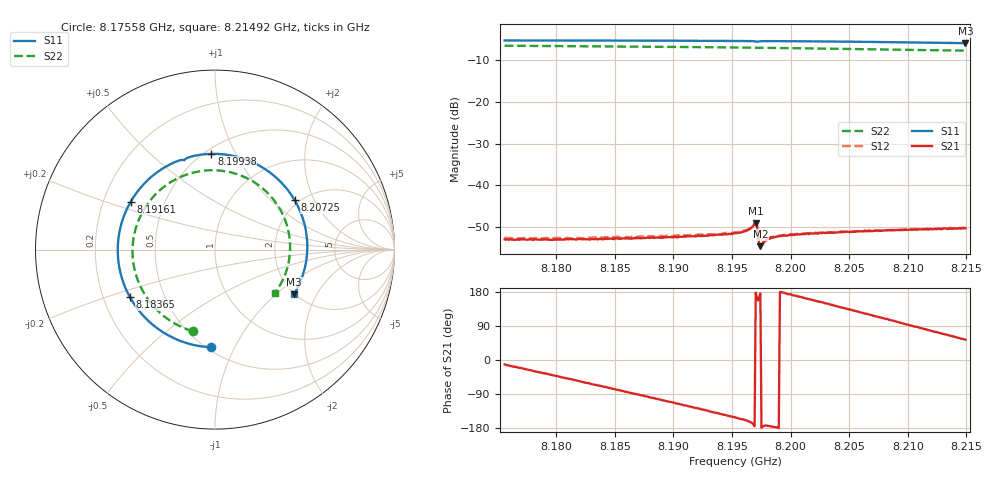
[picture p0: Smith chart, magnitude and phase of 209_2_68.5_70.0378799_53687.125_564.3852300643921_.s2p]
#  HZ  S  RI  R  50.00
! Rohde & Schwarz Vector Network Analyzer
! Rohde-Schwarz,ZNB20-2Port,1311601062101988,3.16
! Created: UTC 3/20/2024, 4:57:57 PM
! freq[Hz]  re:S11  im:S11  re:S21  im:S21  re:S12  im:S12  re:S22  im:S22
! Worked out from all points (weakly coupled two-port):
!   401 points, 8.17558 GHz to 8.21492 GHz, reference 50 ohm
!   highest |S21| = -48.99 dB at 8.19702 GHz (marker M1); lowest = -54.6 dB at 8.19741 GHz (marker M2)
!   lowest |S11| = -5.9 dB at 8.21492 GHz (marker M3), VSWR 3.05, Z = 99.1 - j66.3 ohm
!   |S11| at or under -10 dB: nowhere
!   |S22| runs from -7.7 to -6.5 dB; largest |S21 - S12| = 0.00021
!   S11 on the Smith chart (normalised r, x): 8.17558 GHz: 0.53, -0.81; 8.18365 GHz: 0.31, -0.24; 8.19161 GHz: 0.32, +0.24; 8.19938 GHz: 0.54, +0.81; 8.20725 GHz: 1.89, +1.43; 8.21492 GHz: 1.98, -1.33
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8.175584e9  -0.0208 -0.5442  0.00221 -0.000454  0.00229 -0.000472  -0.1236 -0.4547
8.178829e9  -0.2358 -0.4903  0.00184 -0.00126  0.00187 -0.00134  -0.2851 -0.3704
8.182172e9  -0.4167 -0.3488  0.00121 -0.00192  0.00122 -0.00199  -0.4042 -0.2274
8.183647e9  -0.4744 -0.2643  0.000888 -0.00212  0.000825 -0.0022  -0.4366 -0.1521
8.186204e9  -0.5336 -0.0972  0.000163 -0.0023  0.000114 -0.00238  -0.4596 -0.0124
8.18876e9  -0.5354 0.0806  -0.000561 -0.0023  -0.000624 -0.00237  -0.4389 0.1273
8.191612e9  -0.469 0.2678  -0.0014 -0.00202  -0.0015 -0.00205  -0.3667 0.2673
8.19525e9  -0.2931 0.4507  -0.00234 -0.00128  -0.00247 -0.00124  -0.2116 0.3956
8.196233e9  -0.2314 0.484  -0.00268 -0.000983  -0.00278 -0.000914  -0.1608 0.4172
8.196921e9  -0.1826 0.4999  -0.00344 -0.00031  -0.00351 -0.00018  -0.1237 0.4283
8.19702e9  -0.1752 0.4995  -0.00355 0.000153  -0.00362 0.00035  -0.1183 0.4297
8.197413e9  -0.1596 0.5083  -0.00186 0.000141  -0.00187 0.000248  -0.097 0.4344
8.197511e9  -0.1525 0.5115  -0.00192 -3.69e-05  -0.00197 3.56e-05  -0.0915 0.4355
8.1982e9  -0.1034 0.5249  -0.00229 -0.000216  -0.00233 -0.000118  -0.0527 0.4406
8.19938e9  -0.0198 0.5335  -0.00251 0.000108  -0.00254 0.000251  0.0141 0.4415
8.201838e9  0.1516 0.5087  -0.00248 0.000965  -0.00247 0.00108  0.1498 0.4104
8.204394e9  0.3114 0.4254  -0.00206 0.00185  -0.00201 0.00195  0.2748 0.333
8.207246e9  0.4444 0.2744  -0.00123 0.0026  -0.00115 0.00261  0.3754 0.2004
8.208426e9  0.4807 0.1987  -0.000784 0.0028  -0.000728 0.00281  0.4008 0.135
8.210097e9  0.5099 0.0831  -0.000124 0.00294  -4.39e-05 0.00296  0.4181 0.036
8.211671e9  0.5124 -0.0292  0.000536 0.00294  0.000628 0.00294  0.4123 -0.0596
8.214916e9  0.4401 -0.249  0.00182 0.00247  0.00192 0.00246  0.3325 -0.2432
